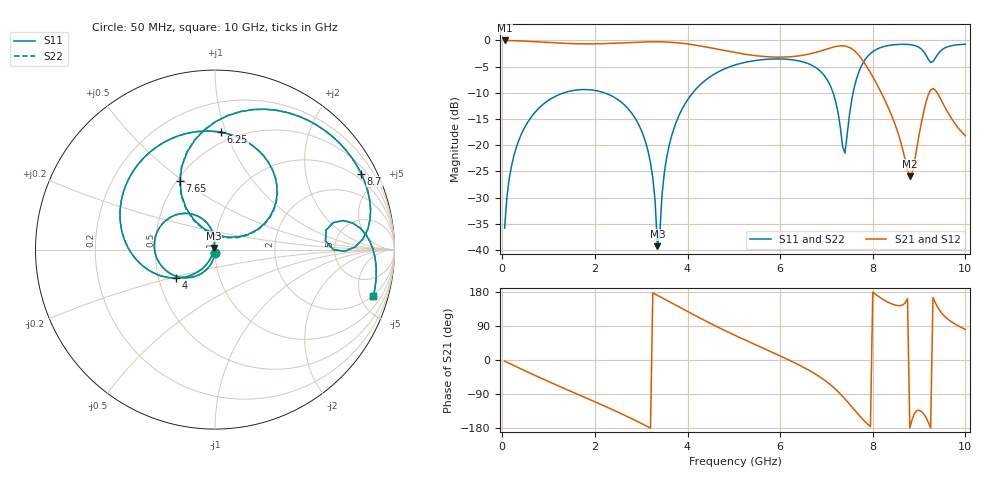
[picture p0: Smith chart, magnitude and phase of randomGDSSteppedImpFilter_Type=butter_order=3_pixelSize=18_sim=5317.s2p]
! freq	dB(S11)	phase(S11)	dB(S12)	phase(S12)
!  dB(S21)	phase(S21)	dB(S22)	phase(S22)
!S-par simulation data
#  GHz  S  DB  R 50
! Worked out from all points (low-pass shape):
!   200 points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, 50 MHz to 10 GHz, reference 50 ohm
!   highest |S21| = -0.01 dB at 50 MHz (marker M1); lowest = -25.9 dB at 8.8 GHz (marker M2)
!   |S21| within 3 dB of the highest: start of sweep to 5.573 GHz; 6.35 GHz to 7.714 GHz (1.364 GHz wide, 19.4 % of centre)
!   lowest |S11| = -39.3 dB at 3.35 GHz (marker M3), VSWR 1.02, Z = 49.4 + j0.901 ohm
!   |S11| at or under -10 dB: start of sweep to 1.33 GHz; 2.205 GHz to 4.113 GHz (1.908 GHz wide, 60.4 % of centre); 7.143 GHz to 7.576 GHz (432.4 MHz wide, 5.88 % of centre)
!   |S22| runs from -39.1 to -0.7 dB; largest |S21 - S12| = 0
!   S11 on the Smith chart (normalised r, x): 50 MHz: 1.00, -0.03; 4 GHz: 0.61, -0.21; 6.25 GHz: 0.42, +0.96; 7.65 GHz: 0.52, +0.49; 8.7 GHz: 0.73, +3.96; 10 GHz: 1.94, -6.45
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0.05  -35.82 -92.7  -0.01 -3.0  -0.01 -3.0  -35.79 -92.6
0.2  -23.92 -102.0  -0.04 -11.7  -0.04 -11.7  -23.92 -102.0
0.5  -16.34 -119.5  -0.14 -29.0  -0.14 -29.0  -16.34 -119.5
1.75  -9.37 172.5  -0.65 -97.0  -0.65 -97.0  -9.37 172.5
2.95  -16.15 107.0  -0.32 -164.2  -0.32 -164.2  -16.15 107.0
3.25  -26.23 93.5  -0.25 177.0  -0.25 177.0  -26.22 93.7
3.35  -39.26 123.1  -0.25 170.6  -0.25 170.6  -39.14 123.7
3.4  -36.96 -135.0  -0.26 167.4  -0.26 167.4  -36.90 -135.8
3.6  -20.16 -120.3  -0.33 154.3  -0.33 154.3  -20.16 -120.5
4  -11.35 -144.0  -0.67 128.0  -0.67 128.0  -11.35 -144.1
5.05  -4.63 153.0  -2.35 63.6  -2.35 63.6  -4.63 152.9
6.25  -3.68 87.1  -3.09 -3.6  -3.09 -3.6  -3.68 86.9
6.7  -4.82 59.5  -2.44 -32.6  -2.44 -32.6  -4.82 59.2
7.15  -10.16 27.8  -1.27 -72.0  -1.27 -72.0  -10.18 27.1
7.4  -21.50 88.1  -1.07 -102.8  -1.07 -102.8  -21.88 88.7
7.65  -7.31 116.9  -2.36 -138.6  -2.36 -138.6  -7.32 117.3
7.95  -2.49 84.4  -6.15 -176.0  -6.15 -176.0  -2.50 84.6
8.35  -0.95 50.7  -13.12 151.4  -13.12 151.4  -0.96 50.8
8.7  -0.74 27.5  -22.81 150.7  -22.81 150.7  -0.74 27.5
8.8  -0.80 21.1  -25.93 -179.4  -25.93 -179.4  -0.80 21.0
9.25  -4.17 4.4  -9.44 -179.4  -9.44 -179.4  -4.19 4.4
10  -0.73 -16.2  -18.20 80.4  -18.20 80.4  -0.73 -16.2
